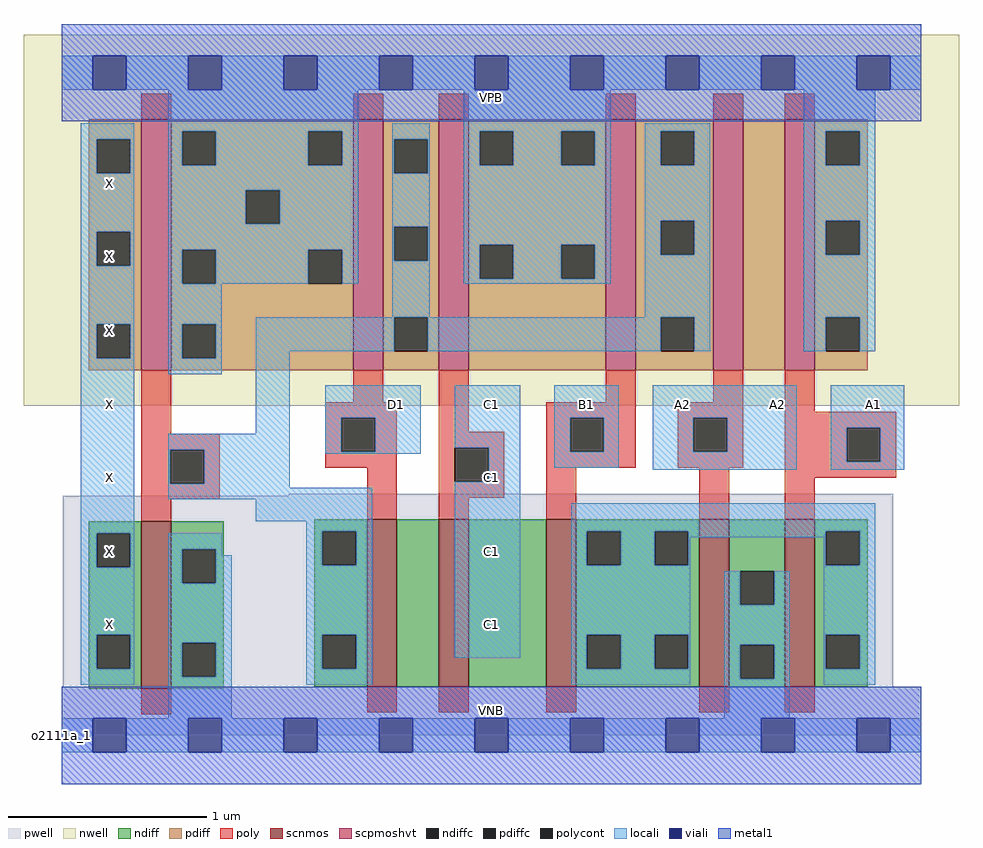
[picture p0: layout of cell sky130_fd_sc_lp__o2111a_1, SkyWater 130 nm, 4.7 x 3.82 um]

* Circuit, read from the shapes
.subckt sky130_fd_sc_lp__o2111a_1 A1 A2 B1 C1 D1 VGND VNB VPB VPWR X
XM1 VGND n1 X VNB sky130_fd_pr__nfet_01v8 w=0.84 l=0.15
XM2 n2 D1 n1 VNB sky130_fd_pr__nfet_01v8 w=0.84 l=0.15
XM3 n3 C1 n2 VNB sky130_fd_pr__nfet_01v8 w=0.84 l=0.15
XM4 n4 B1 n3 VNB sky130_fd_pr__nfet_01v8 w=0.84 l=0.15
XM5 VGND A2 n4 VNB sky130_fd_pr__nfet_01v8 w=0.84 l=0.15
XM6 n4 A1 VGND VNB sky130_fd_pr__nfet_01v8 w=0.84 l=0.15
XM7 VPWR n1 X VPB sky130_fd_pr__pfet_01v8_hvt w=1.26 l=0.15
XM8 n1 D1 VPWR VPB sky130_fd_pr__pfet_01v8_hvt w=1.26 l=0.15
XM9 VPWR C1 n1 VPB sky130_fd_pr__pfet_01v8_hvt w=1.26 l=0.15
XM10 n1 B1 VPWR VPB sky130_fd_pr__pfet_01v8_hvt w=1.26 l=0.15
XM11 n5 A2 n1 VPB sky130_fd_pr__pfet_01v8_hvt w=1.26 l=0.15
XM12 VPWR A1 n5 VPB sky130_fd_pr__pfet_01v8_hvt w=1.26 l=0.15
.ends

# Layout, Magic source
magic
tech sky130A
magscale 1 2
<< nwell >>
rect -38 331 902 704
<< pwell >>
rect 228 241 836 243
rect 1 49 836 241
rect 0 0 864 49
<< scnmos >>
rect 80 47 110 215
rect 307 49 337 217
rect 379 49 409 217
rect 487 49 517 217
rect 641 49 671 217
rect 727 49 757 217
<< scpmoshvt >>
rect 80 367 110 619
rect 293 367 323 619
rect 379 367 409 619
rect 547 367 577 619
rect 655 367 685 619
rect 727 367 757 619
<< ndiff >>
rect 27 203 80 215
rect 27 169 35 203
rect 69 169 80 203
rect 27 101 80 169
rect 27 67 35 101
rect 69 67 80 101
rect 27 47 80 67
rect 110 187 163 215
rect 110 153 121 187
rect 155 153 163 187
rect 110 93 163 153
rect 110 59 121 93
rect 155 59 163 93
rect 110 47 163 59
rect 254 205 307 217
rect 254 171 262 205
rect 296 171 307 205
rect 254 101 307 171
rect 254 67 262 101
rect 296 67 307 101
rect 254 49 307 67
rect 337 49 379 217
rect 409 49 487 217
rect 517 205 641 217
rect 517 171 528 205
rect 562 171 596 205
rect 630 171 641 205
rect 517 101 641 171
rect 517 67 528 101
rect 562 67 596 101
rect 630 67 641 101
rect 517 49 641 67
rect 671 165 727 217
rect 671 131 682 165
rect 716 131 727 165
rect 671 91 727 131
rect 671 57 682 91
rect 716 57 727 91
rect 671 49 727 57
rect 757 205 810 217
rect 757 171 768 205
rect 802 171 810 205
rect 757 101 810 171
rect 757 67 768 101
rect 802 67 810 101
rect 757 49 810 67
<< pdiff >>
rect 27 599 80 619
rect 27 565 35 599
rect 69 565 80 599
rect 27 506 80 565
rect 27 472 35 506
rect 69 472 80 506
rect 27 413 80 472
rect 27 379 35 413
rect 69 379 80 413
rect 27 367 80 379
rect 110 607 293 619
rect 110 573 121 607
rect 155 573 248 607
rect 282 573 293 607
rect 110 548 293 573
rect 110 514 185 548
rect 219 514 293 548
rect 110 488 293 514
rect 110 454 121 488
rect 155 454 248 488
rect 282 454 293 488
rect 110 413 293 454
rect 110 379 121 413
rect 155 379 293 413
rect 110 367 293 379
rect 323 599 379 619
rect 323 565 334 599
rect 368 565 379 599
rect 323 511 379 565
rect 323 477 334 511
rect 368 477 379 511
rect 323 420 379 477
rect 323 386 334 420
rect 368 386 379 420
rect 323 367 379 386
rect 409 607 547 619
rect 409 573 420 607
rect 454 573 502 607
rect 536 573 547 607
rect 409 493 547 573
rect 409 459 420 493
rect 454 459 502 493
rect 536 459 547 493
rect 409 367 547 459
rect 577 607 655 619
rect 577 573 602 607
rect 636 573 655 607
rect 577 517 655 573
rect 577 483 602 517
rect 636 483 655 517
rect 577 420 655 483
rect 577 386 602 420
rect 636 386 655 420
rect 577 367 655 386
rect 685 367 727 619
rect 757 607 810 619
rect 757 573 768 607
rect 802 573 810 607
rect 757 517 810 573
rect 757 483 768 517
rect 802 483 810 517
rect 757 420 810 483
rect 757 386 768 420
rect 802 386 810 420
rect 757 367 810 386
<< ndiffc >>
rect 35 169 69 203
rect 35 67 69 101
rect 121 153 155 187
rect 121 59 155 93
rect 262 171 296 205
rect 262 67 296 101
rect 528 171 562 205
rect 596 171 630 205
rect 528 67 562 101
rect 596 67 630 101
rect 682 131 716 165
rect 682 57 716 91
rect 768 171 802 205
rect 768 67 802 101
<< pdiffc >>
rect 35 565 69 599
rect 35 472 69 506
rect 35 379 69 413
rect 121 573 155 607
rect 248 573 282 607
rect 185 514 219 548
rect 121 454 155 488
rect 248 454 282 488
rect 121 379 155 413
rect 334 565 368 599
rect 334 477 368 511
rect 334 386 368 420
rect 420 573 454 607
rect 502 573 536 607
rect 420 459 454 493
rect 502 459 536 493
rect 602 573 636 607
rect 602 483 636 517
rect 602 386 636 420
rect 768 573 802 607
rect 768 483 802 517
rect 768 386 802 420
<< poly >>
rect 80 619 110 645
rect 293 619 323 645
rect 379 619 409 645
rect 547 619 577 645
rect 655 619 685 645
rect 727 619 757 645
rect 80 303 110 367
rect 293 335 323 367
rect 265 319 337 335
rect 80 287 159 303
rect 80 253 109 287
rect 143 253 159 287
rect 265 285 281 319
rect 315 285 337 319
rect 265 269 337 285
rect 80 237 159 253
rect 80 215 110 237
rect 307 217 337 269
rect 379 305 409 367
rect 547 335 577 367
rect 655 335 685 367
rect 487 319 577 335
rect 379 289 445 305
rect 379 255 395 289
rect 429 255 445 289
rect 379 239 445 255
rect 487 285 511 319
rect 545 285 577 319
rect 487 269 577 285
rect 619 319 685 335
rect 619 285 635 319
rect 669 285 685 319
rect 619 269 685 285
rect 727 325 757 367
rect 727 309 839 325
rect 727 275 789 309
rect 823 275 839 309
rect 379 217 409 239
rect 487 217 517 269
rect 641 217 671 269
rect 727 259 839 275
rect 727 217 757 259
rect 80 21 110 47
rect 307 23 337 49
rect 379 23 409 49
rect 487 23 517 49
rect 641 23 671 49
rect 727 23 757 49
<< polycont >>
rect 109 253 143 287
rect 281 285 315 319
rect 395 255 429 289
rect 511 285 545 319
rect 635 285 669 319
rect 789 275 823 309
<< locali >>
rect 0 649 31 683
rect 65 649 127 683
rect 161 649 223 683
rect 257 649 319 683
rect 353 649 415 683
rect 449 649 511 683
rect 545 649 607 683
rect 641 649 703 683
rect 737 649 799 683
rect 833 649 864 683
rect 19 599 73 615
rect 19 565 35 599
rect 69 565 73 599
rect 19 506 73 565
rect 19 472 35 506
rect 69 472 73 506
rect 19 413 73 472
rect 19 379 35 413
rect 69 379 73 413
rect 19 203 73 379
rect 107 607 298 649
rect 107 573 121 607
rect 155 573 248 607
rect 282 573 298 607
rect 107 548 298 573
rect 107 514 185 548
rect 219 514 298 548
rect 107 488 298 514
rect 107 454 121 488
rect 155 454 248 488
rect 282 454 298 488
rect 332 599 370 615
rect 332 565 334 599
rect 368 565 370 599
rect 332 511 370 565
rect 332 477 334 511
rect 368 477 370 511
rect 107 413 161 454
rect 332 420 370 477
rect 404 607 552 649
rect 404 573 420 607
rect 454 573 502 607
rect 536 573 552 607
rect 404 493 552 573
rect 404 459 420 493
rect 454 459 502 493
rect 536 459 552 493
rect 404 454 552 459
rect 586 607 652 615
rect 586 573 602 607
rect 636 573 652 607
rect 586 517 652 573
rect 586 483 602 517
rect 636 483 652 517
rect 586 420 652 483
rect 107 379 121 413
rect 155 379 161 413
rect 107 363 161 379
rect 195 386 334 420
rect 368 386 602 420
rect 636 386 652 420
rect 746 607 818 649
rect 746 573 768 607
rect 802 573 818 607
rect 746 517 818 573
rect 746 483 768 517
rect 802 483 818 517
rect 746 420 818 483
rect 746 386 768 420
rect 802 386 818 420
rect 195 303 229 386
rect 107 287 229 303
rect 107 253 109 287
rect 143 253 229 287
rect 265 319 361 352
rect 265 285 281 319
rect 315 285 361 319
rect 265 283 361 285
rect 395 289 461 352
rect 107 249 229 253
rect 429 255 461 289
rect 495 319 560 352
rect 495 285 511 319
rect 545 285 560 319
rect 495 269 560 285
rect 594 319 739 352
rect 594 285 635 319
rect 669 285 739 319
rect 594 267 739 285
rect 773 309 847 352
rect 773 275 789 309
rect 823 275 847 309
rect 773 267 847 275
rect 107 237 312 249
rect 195 215 312 237
rect 246 205 312 215
rect 19 169 35 203
rect 69 169 73 203
rect 19 101 73 169
rect 19 67 35 101
rect 69 67 73 101
rect 19 51 73 67
rect 107 187 161 203
rect 107 153 121 187
rect 155 181 161 187
rect 155 153 171 181
rect 107 93 171 153
rect 107 59 121 93
rect 155 59 171 93
rect 107 17 171 59
rect 246 171 262 205
rect 296 171 312 205
rect 246 101 312 171
rect 246 67 262 101
rect 296 67 312 101
rect 395 78 461 255
rect 512 205 818 233
rect 512 171 528 205
rect 562 171 596 205
rect 630 199 768 205
rect 630 171 632 199
rect 512 101 632 171
rect 766 171 768 199
rect 802 171 818 205
rect 246 51 312 67
rect 512 67 528 101
rect 562 67 596 101
rect 630 67 632 101
rect 512 51 632 67
rect 666 131 682 165
rect 716 131 732 165
rect 666 91 732 131
rect 666 57 682 91
rect 716 57 732 91
rect 666 17 732 57
rect 766 101 818 171
rect 766 67 768 101
rect 802 67 818 101
rect 766 51 818 67
rect 0 -17 31 17
rect 65 -17 127 17
rect 161 -17 223 17
rect 257 -17 319 17
rect 353 -17 415 17
rect 449 -17 511 17
rect 545 -17 607 17
rect 641 -17 703 17
rect 737 -17 799 17
rect 833 -17 864 17
<< viali >>
rect 31 649 65 683
rect 127 649 161 683
rect 223 649 257 683
rect 319 649 353 683
rect 415 649 449 683
rect 511 649 545 683
rect 607 649 641 683
rect 703 649 737 683
rect 799 649 833 683
rect 31 -17 65 17
rect 127 -17 161 17
rect 223 -17 257 17
rect 319 -17 353 17
rect 415 -17 449 17
rect 511 -17 545 17
rect 607 -17 641 17
rect 703 -17 737 17
rect 799 -17 833 17
<< metal1 >>
rect 0 683 864 715
rect 0 649 31 683
rect 65 649 127 683
rect 161 649 223 683
rect 257 649 319 683
rect 353 649 415 683
rect 449 649 511 683
rect 545 649 607 683
rect 641 649 703 683
rect 737 649 799 683
rect 833 649 864 683
rect 0 617 864 649
rect 0 17 864 49
rect 0 -17 31 17
rect 65 -17 127 17
rect 161 -17 223 17
rect 257 -17 319 17
rect 353 -17 415 17
rect 449 -17 511 17
rect 545 -17 607 17
rect 641 -17 703 17
rect 737 -17 799 17
rect 833 -17 864 17
rect 0 -49 864 -17
<< labels >>
flabel pwell s 0 0 864 49 0 FreeSans 200 0 0 0 VNB
port 7 nsew ground bidirectional
flabel nwell s 0 617 864 666 0 FreeSans 200 0 0 0 VPB
port 8 nsew power bidirectional
rlabel comment s 0 0 0 0 4 o2111a_1
flabel metal1 s 0 617 864 666 0 FreeSans 340 0 0 0 VPWR
port 9 nsew power bidirectional
flabel metal1 s 0 0 864 49 0 FreeSans 340 0 0 0 VGND
port 6 nsew ground bidirectional
flabel locali s 799 316 833 350 0 FreeSans 340 0 0 0 A1
port 1 nsew signal input
flabel locali s 607 316 641 350 0 FreeSans 340 0 0 0 A2
port 2 nsew signal input
flabel locali s 703 316 737 350 0 FreeSans 340 0 0 0 A2
port 2 nsew signal input
flabel locali s 511 316 545 350 0 FreeSans 340 0 0 0 B1
port 3 nsew signal input
flabel locali s 415 94 449 128 0 FreeSans 340 0 0 0 C1
port 4 nsew signal input
flabel locali s 415 168 449 202 0 FreeSans 340 0 0 0 C1
port 4 nsew signal input
flabel locali s 415 242 449 276 0 FreeSans 340 0 0 0 C1
port 4 nsew signal input
flabel locali s 415 316 449 350 0 FreeSans 340 0 0 0 C1
port 4 nsew signal input
flabel locali s 319 316 353 350 0 FreeSans 340 0 0 0 D1
port 5 nsew signal input
flabel locali s 31 94 65 128 0 FreeSans 340 0 0 0 X
port 10 nsew signal output
flabel locali s 31 168 65 202 0 FreeSans 340 0 0 0 X
port 10 nsew signal output
flabel locali s 31 242 65 276 0 FreeSans 340 0 0 0 X
port 10 nsew signal output
flabel locali s 31 316 65 350 0 FreeSans 340 0 0 0 X
port 10 nsew signal output
flabel locali s 31 390 65 424 0 FreeSans 340 0 0 0 X
port 10 nsew signal output
flabel locali s 31 464 65 498 0 FreeSans 340 0 0 0 X
port 10 nsew signal output
flabel locali s 31 538 65 572 0 FreeSans 340 0 0 0 X
port 10 nsew signal output
<< properties >>
string LEFsite unit
string LEFclass CORE
string FIXED_BBOX 0 0 864 666
string GDS_FILE $PDKPATH/libs.ref/sky130_fd_sc_lp/gds/sky130_fd_sc_lp.gds
string LEFsymmetry X Y R90
string GDS_END 4249668
string GDS_START 4240726
<< end >>
